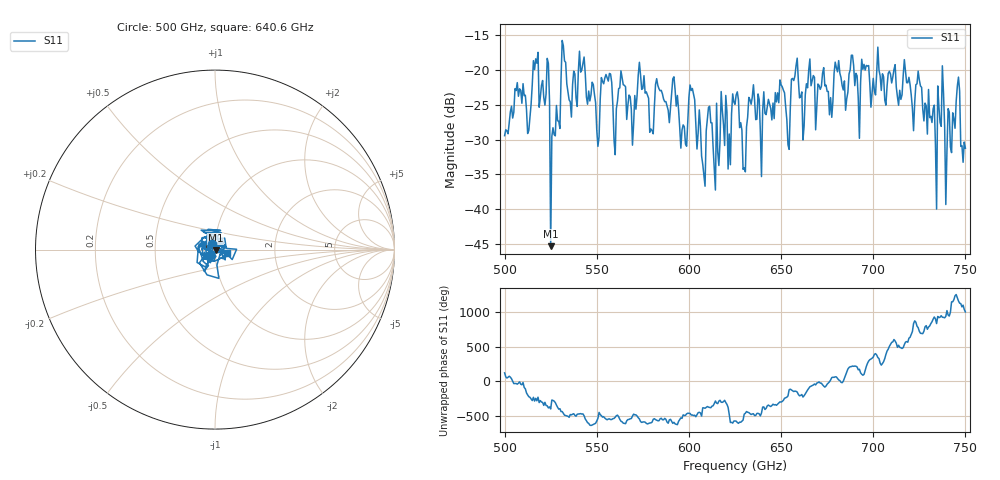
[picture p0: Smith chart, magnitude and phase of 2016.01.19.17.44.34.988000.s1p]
!Created with skrf (http://scikit-rf.org).
# GHz S RI R 50.0
!freq ReS11 ImS11
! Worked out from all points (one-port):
!   401 points, 500 GHz to 750 GHz, reference 50 ohm
!   lowest |S11| = -45.3 dB at 525 GHz (marker M1), VSWR 1.01, Z = 50.4 - j0.387 ohm
!   |S11| at or under -10 dB: start of sweep to end of sweep
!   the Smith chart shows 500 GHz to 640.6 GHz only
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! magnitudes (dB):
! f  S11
! 500 GHz  -29.4
! 506.9 GHz  -21.9
! 513.1 GHz  -28.7
! 516.9 GHz  -18.5
! 525 GHz  -45.3
! 531.2 GHz  -15.8
! 541.9 GHz  -20.0
! 550.6 GHz  -31.0
! 553.8 GHz  -22.0
! 560 GHz  -32.2
! 562.5 GHz  -22.6
! 593.8 GHz  -23.7
! 597.5 GHz  -28.2
! 601.9 GHz  -22.7
! 608.1 GHz  -35.1
! 610.6 GHz  -25.4
! 615 GHz  -24.8
! 625 GHz  -25.0
! 630 GHz  -34.1
! 633.8 GHz  -25.0
! 650.6 GHz  -22.4
! 653.8 GHz  -30.8
! 656.2 GHz  -21.3
! 687.5 GHz  -20.0
! 718.8 GHz  -21.9
! 740.6 GHz  -25.6
! 745.6 GHz  -22.4
! 750 GHz  -31.2
